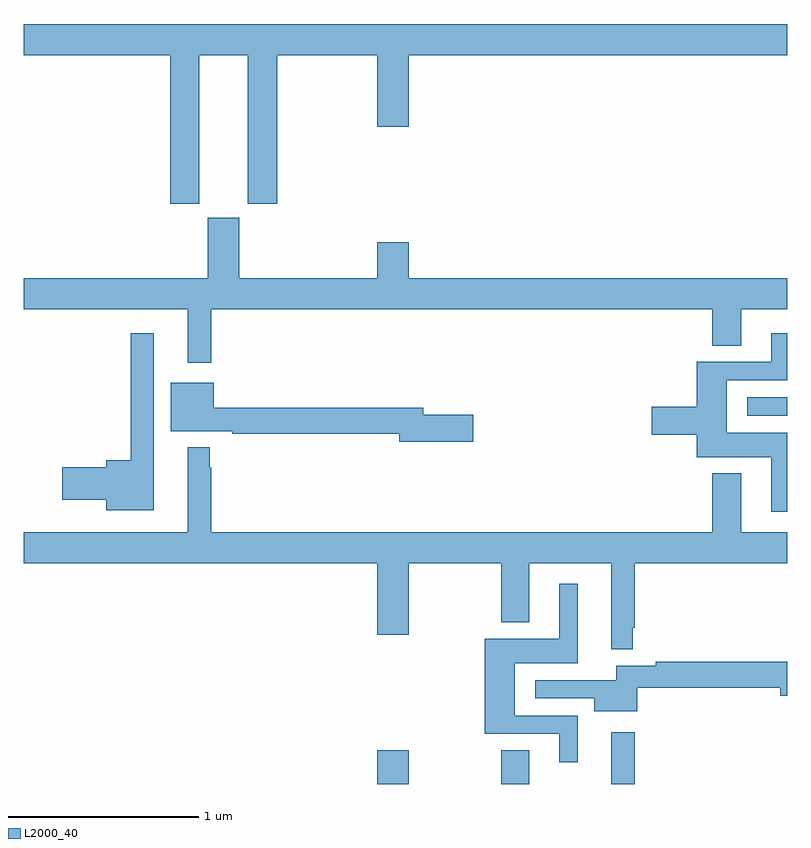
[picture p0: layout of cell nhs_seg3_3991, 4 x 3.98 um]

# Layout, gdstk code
import gdstk
lib = gdstk.Library(unit=1e-6, precision=1e-09)
def R(c, l, rs):  # rectangles x0, y0, x1, y1
    for r in rs: c.add(gdstk.rectangle(r[:2], r[2:], *l))
def P(c, l, *ps):  # polygons
    for p in ps: c.add(gdstk.Polygon(p, *l))
L2000_40 = (2000, 40)

nhs_seg3_3991 = lib.new_cell('nhs_seg3_3991')
R(nhs_seg3_3991, L2000_40, [(320.852,726.4,321.016,726.577), (321.502,726.4,321.649,726.578), (322.079,726.4,322.201,726.67), (322.791,728.331,323,728.427)])
P(nhs_seg3_3991, L2000_40, [(319.918,730.22),(320.174,730.22),(320.174,729.441),(320.327,729.441),(320.327,730.22),(320.852,730.22),(320.852,729.846),(321.016,729.846),(321.016,730.22),(323,730.22),(323,730.384),(319,730.384),(319,730.22),(319.766,730.22),(319.766,729.441),(319.918,729.441)],
  [(319.981,728.888),(322.607,728.888),(322.607,728.698),(322.759,728.698),(322.759,728.888),(323,728.888),(323,729.052),(321.016,729.052),(321.016,729.241),(320.852,729.241),(320.852,729.052),(320.128,729.052),(320.128,729.369),(319.964,729.369),(319.964,729.052),(319,729.052),(319,728.888),(319.859,728.888),(319.859,728.607),(319.981,728.607)],
  [(319.681,728.764),(319.56,728.764),(319.56,728.098),(319.43,728.098),(319.43,728.06),(319.2,728.06),(319.2,727.889),(319.43,727.889),(319.43,727.835),(319.681,727.835)],
  [(323,728.242),(322.684,728.242),(322.684,728.517),(323,728.517),(323,728.764),(322.916,728.764),(322.916,728.613),(322.526,728.613),(322.526,728.378),(322.29,728.378),(322.29,728.231),(322.526,728.231),(322.526,728.114),(322.916,728.114),(322.916,727.827),(323,727.827)],
  [(321.355,728.336),(321.094,728.336),(321.094,728.372),(319.996,728.372),(319.996,728.503),(319.769,728.503),(319.769,728.249),(320.092,728.249),(320.092,728.236),(320.966,728.236),(320.966,728.194),(321.355,728.194)],
  [(322.19,727.219),(322.201,727.219),(322.201,727.556),(323,727.556),(323,727.72),(322.759,727.72),(322.759,728.029),(322.607,728.029),(322.607,727.72),(319.981,727.72),(319.981,728.057),(319.974,728.057),(319.974,728.164),(319.859,728.164),(319.859,727.72),(319,727.72),(319,727.556),(320.852,727.556),(320.852,727.182),(321.016,727.182),(321.016,727.556),(321.502,727.556),(321.502,727.247),(321.649,727.247),(321.649,727.556),(322.079,727.556),(322.079,727.107),(322.19,727.107)],
  [(321.904,726.759),(321.574,726.759),(321.574,727.034),(321.904,727.034),(321.904,727.45),(321.806,727.45),(321.806,727.162),(321.416,727.162),(321.416,726.663),(321.806,726.663),(321.806,726.513),(321.904,726.513)],
  [(322.216,726.904),(322.964,726.904),(322.964,726.862),(323,726.862),(323,727.04),(322.312,727.04),(322.312,727.02),(322.106,727.02),(322.106,726.945),(321.681,726.945),(321.681,726.849),(321.989,726.849),(321.989,726.782),(322.216,726.782)])

lib.write_gds('nhs_seg3_3991.gds')
